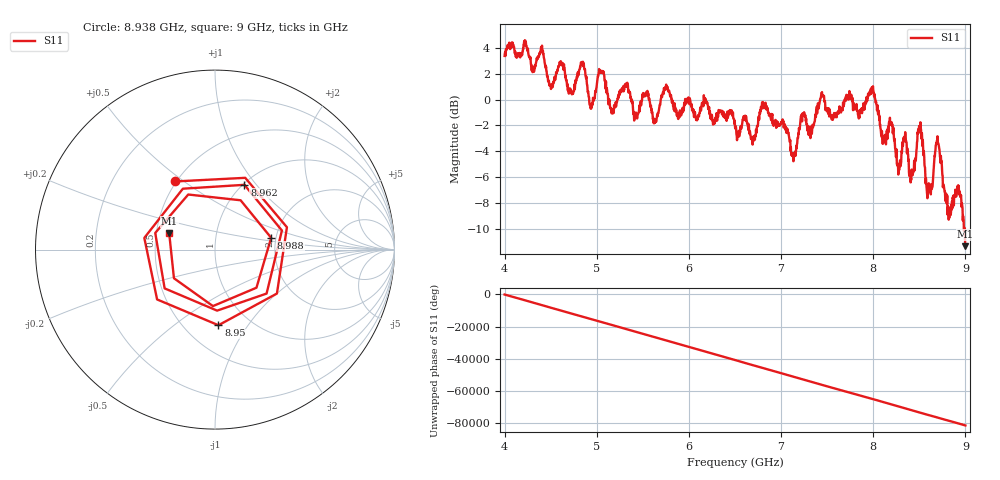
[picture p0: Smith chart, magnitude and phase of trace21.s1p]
! Created with skrf 1.8.0 (http://scikit-rf.org).
# Hz S RI R 50.0
!freq ReS11 ImS11
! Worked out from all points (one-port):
!   1601 points, 4 GHz to 9 GHz, reference 50 ohm
!   lowest |S11| = -11.4 dB at 9 GHz (marker M1), VSWR 1.74, Z = 29.3 + j5.67 ohm
!   |S11| at or under -10 dB: 8.983349 GHz to 8.986622 GHz (3.274 MHz wide, 0.0364 % of centre); 8.98977 GHz to end of sweep
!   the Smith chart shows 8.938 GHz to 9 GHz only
!   S11 on the Smith chart (normalised r, x): 8.938 GHz: 0.49, +0.46; 8.95 GHz: 0.72, -0.74; 8.962 GHz: 1.02, +0.87; 8.988 GHz: 1.88, +0.28; 9 GHz: 0.59, +0.11
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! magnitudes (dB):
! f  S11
! 4 GHz  3.4
! 4.625 GHz  2.8
! 4.722 GHz  0.6
! 4.85 GHz  2.9
! 4.944 GHz  -0.4
! 5.044 GHz  2.1
! 5.159 GHz  -0.9
! 5.25 GHz  0.4
! 5.875 GHz  -1.2
! 6.5 GHz  -2.1
! 6.7 GHz  -3.2
! 6.819 GHz  -0.4
! 7.125 GHz  -4.4
! 7.441 GHz  0.5
! 7.75 GHz  0.1
! 7.994 GHz  0.9
! 8.112 GHz  -3.1
! 8.375 GHz  -4.2
! 8.425 GHz  -5.5
! 8.506 GHz  -2.0
! 8.6 GHz  -6.9
! 8.697 GHz  -2.8
! 8.819 GHz  -9.3
! 8.938 GHz  -7.1
! 8.95 GHz  -7.5
! 8.962 GHz  -8.0
! 8.988 GHz  -9.9
! 9 GHz  -11.4
